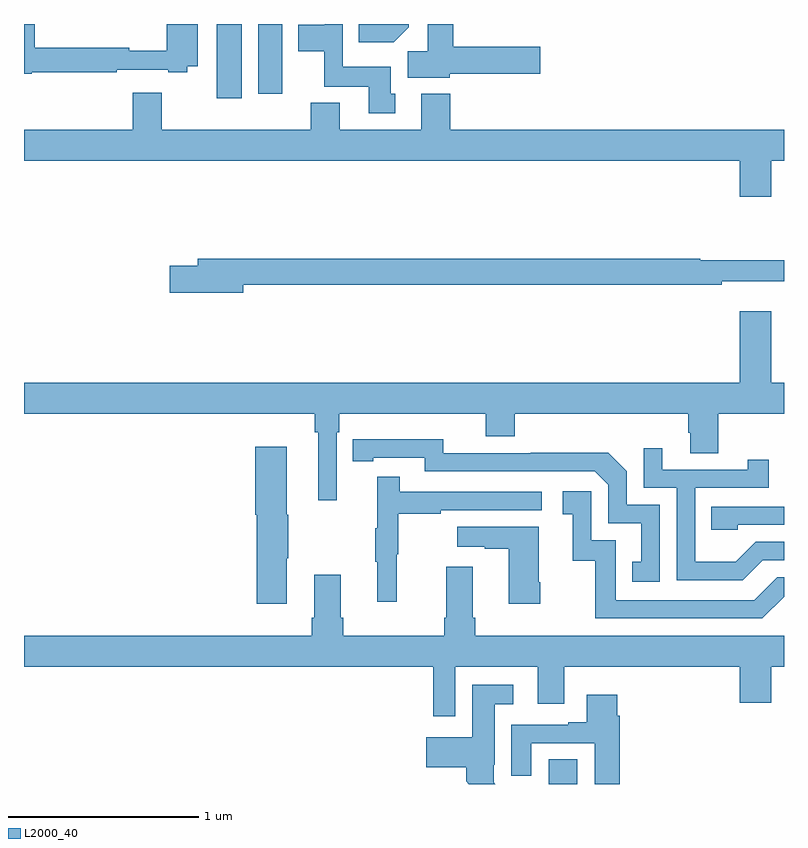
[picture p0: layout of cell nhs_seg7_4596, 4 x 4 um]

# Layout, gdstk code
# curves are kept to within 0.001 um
import gdstk
lib = gdstk.Library(unit=1e-6, precision=1e-09)
def R(c, l, rs):  # rectangles x0, y0, x1, y1
    for r in rs: c.add(gdstk.rectangle(r[:2], r[2:], *l))
def P(c, l, *ps):  # polygons
    for p in ps: c.add(gdstk.Polygon(p, *l))
L2000_40 = (2000, 40)

nhs_seg7_4596 = lib.new_cell('nhs_seg7_4596')
R(nhs_seg7_4596, L2000_40, [(403.763,1000,403.912,1000.13), (402.014,1003.608,402.145,1004), (402.233,1003.632,402.358,1004)])
P(nhs_seg7_4596, L2000_40, [(403.242,1003.738),(403.717,1003.738),(403.717,1003.88),(403.259,1003.88),(403.259,1004),(403.124,1004),(403.124,1003.856),(403.019,1003.856),(403.019,1003.718),(403.242,1003.718)],
  [(401.04,1003.746),(401.489,1003.746),(401.489,1003.758),(401.759,1003.758),(401.759,1003.746),(401.859,1003.746),(401.859,1003.778),(401.914,1003.778),(401.914,1004),(401.752,1004),(401.752,1003.859),(401.554,1003.859),(401.554,1003.874),(401.057,1003.874),(401.057,1004),(401,1004),(401,1003.738),(401.04,1003.738)],
  [(402.955,1003.632),(402.931,1003.632),(402.931,1003.774),(402.678,1003.774),(402.678,1004),(402.582,1004),(402.582,1003.996),(402.443,1003.996),(402.443,1003.856),(402.58,1003.856),(402.58,1003.67),(402.815,1003.67),(402.815,1003.53),(402.955,1003.53)],
  [(403.024,1003.982),(403.024,1004),(402.763,1004),(402.763,1003.904),(402.946,1003.904)],
  [(404.932,1003.28),(405,1003.28),(405,1003.444),(403.244,1003.444),(403.244,1003.633),(403.091,1003.633),(403.091,1003.444),(402.661,1003.444),(402.661,1003.585),(402.509,1003.585),(402.509,1003.444),(401.725,1003.444),(401.725,1003.639),(401.573,1003.639),(401.573,1003.444),(401,1003.444),(401,1003.28),(404.768,1003.28),(404.768,1003.092),(404.932,1003.092)],
  [(402.154,1002.628),(404.672,1002.628),(404.672,1002.647),(405,1002.647),(405,1002.757),(404.56,1002.757),(404.56,1002.764),(401.915,1002.764),(401.915,1002.728),(401.766,1002.728),(401.766,1002.586),(402.154,1002.586)],
  [(402.645,1001.852),(402.659,1001.852),(402.659,1001.948),(403.43,1001.948),(403.43,1001.831),(403.583,1001.831),(403.583,1001.948),(404.495,1001.948),(404.495,1001.85),(404.507,1001.85),(404.507,1001.74),(404.655,1001.74),(404.655,1001.948),(405,1001.948),(405,1002.112),(404.932,1002.112),(404.932,1002.487),(404.768,1002.487),(404.768,1002.112),(401,1002.112),(401,1001.948),(402.529,1001.948),(402.529,1001.852),(402.548,1001.852),(402.548,1001.493),(402.645,1001.493)],
  [(404.346,1001.469),(404.172,1001.469),(404.172,1001.646),(404.074,1001.744),(403.666,1001.744),(403.666,1001.742),(403.206,1001.742),(403.206,1001.815),(402.73,1001.814),(402.73,1001.698),(402.838,1001.698),(402.838,1001.718),(403.11,1001.718),(403.11,1001.646),(404.004,1001.646),(404.076,1001.574),(404.076,1001.373),(404.249,1001.373),(404.249,1001.169),(404.2,1001.169),(404.2,1001.064),(404.346,1001.064)],
  [(402.382,1001.188),(402.39,1001.188),(402.39,1001.418),(402.382,1001.418),(402.382,1001.776),(402.218,1001.776),(402.218,1001.418),(402.224,1001.418),(402.224,1000.95),(402.382,1000.95)],
  [(404.887,1001.178),(405,1001.178),(405,1001.274),(404.85,1001.274),(404.746,1001.17),(404.532,1001.17),(404.532,1001.559),(404.921,1001.559),(404.921,1001.707),(404.81,1001.707),(404.81,1001.655),(404.359,1001.655),(404.359,1001.767),(404.262,1001.767),(404.262,1001.559),(404.436,1001.559),(404.436,1001.073),(404.782,1001.073)],
  [(402.962,1001.208),(402.97,1001.208),(402.97,1001.422),(403.193,1001.422),(403.193,1001.442),(403.726,1001.442),(403.726,1001.538),(402.977,1001.538),(402.977,1001.617),(402.86,1001.617),(402.86,1001.345),(402.849,1001.345),(402.849,1001.171),(402.86,1001.171),(402.86,1000.959),(402.962,1000.959)],
  [(405,1000.986),(405,1001.088),(404.964,1001.088),(404.844,1000.968),(404.115,1000.968),(404.115,1001.283),(403.986,1001.283),(403.986,1001.542),(403.836,1001.542),(403.836,1001.421),(403.889,1001.421),(403.889,1001.175),(404.007,1001.175),(404.007,1000.872),(404.886,1000.872)],
  [(404.757,1001.364),(405,1001.364),(405,1001.46),(404.617,1001.46),(404.617,1001.337),(404.757,1001.337)],
  [(403.716,1001.062),(403.708,1001.062),(403.708,1001.353),(403.281,1001.353),(403.281,1001.249),(403.424,1001.249),(403.424,1001.239),(403.55,1001.239),(403.55,1000.95),(403.716,1000.95)],
  [(403.269,1000.616),(403.703,1000.616),(403.703,1000.422),(403.843,1000.422),(403.843,1000.616),(404.768,1000.616),(404.768,1000.428),(404.932,1000.428),(404.932,1000.616),(405,1000.616),(405,1000.78),(403.376,1000.78),(403.376,1000.876),(403.363,1000.876),(403.363,1001.143),(403.223,1001.143),(403.223,1000.876),(403.211,1000.876),(403.211,1000.78),(402.68,1000.78),(402.68,1000.876),(402.667,1000.876),(402.667,1001.101),(402.527,1001.101),(402.527,1000.876),(402.515,1000.876),(402.515,1000.78),(401,1000.78),(401,1000.616),(403.153,1000.616),(403.153,1000.356),(403.269,1000.356)],
  [(403.473,1000.008),(403.473,1000.102),(403.477,1000.102),(403.477,1000.421),(403.576,1000.421),(403.576,1000.522),(403.358,1000.522),(403.358,1000.246),(403.116,1000.246),(403.116,1000.088),(403.328,1000.088),(403.328,1000.014),(403.342,1000),(403.481,1000)],
  [(404.135,1000.358),(404.122,1000.358),(404.122,1000.471),(403.961,1000.471),(403.961,1000.324),(403.865,1000.324),(403.865,1000.311),(403.565,1000.311),(403.565,1000.044),(403.669,1000.044),(403.669,1000.215),(404.003,1000.215),(404.003,1000),(404.135,1000)])

lib.write_gds('nhs_seg7_4596.gds')
